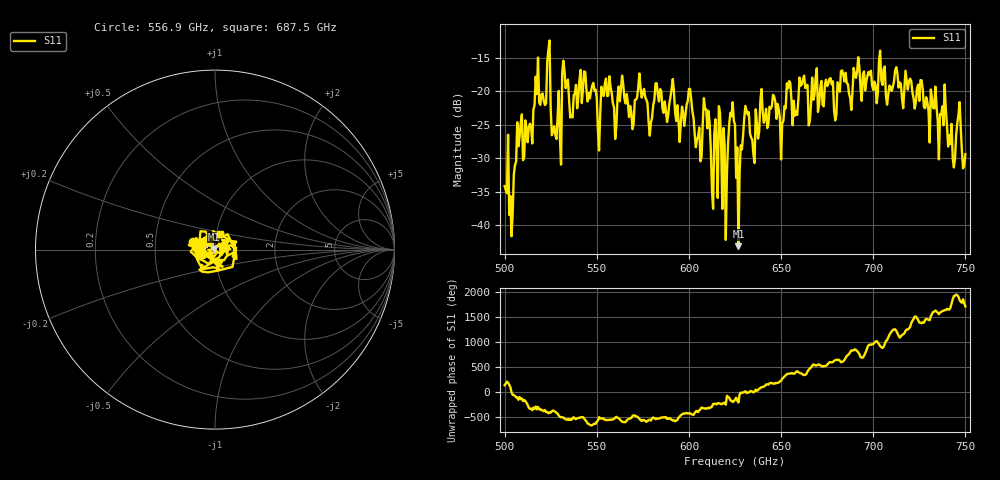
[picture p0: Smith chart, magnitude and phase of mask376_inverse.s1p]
!Created with skrf (http://scikit-rf.org).
# GHz S MA R 50.0
!freq magS11 angS11
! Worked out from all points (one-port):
!   401 points, 500 GHz to 750 GHz, reference 50 ohm
!   lowest |S11| = -43.1 dB at 626.9 GHz (marker M1), VSWR 1.01, Z = 49.4 + j0.364 ohm
!   |S11| at or under -10 dB: start of sweep to end of sweep
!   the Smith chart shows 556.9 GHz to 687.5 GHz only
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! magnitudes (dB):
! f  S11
! 500 GHz  -34.1
! 503.8 GHz  -41.6
! 508.1 GHz  -26.7
! 513.8 GHz  -24.8
! 516.9 GHz  -17.8
! 523.8 GHz  -13.9
! 526.9 GHz  -25.2
! 531.2 GHz  -17.3
! 562.5 GHz  -21.5
! 593.8 GHz  -22.1
! 600 GHz  -19.7
! 605.6 GHz  -25.4
! 609.4 GHz  -22.7
! 612.5 GHz  -34.8
! 617.5 GHz  -28.3
! 619.4 GHz  -28.0
! 622.5 GHz  -23.2
! 625 GHz  -25.0
! 626.9 GHz  -43.1
! 631.2 GHz  -22.9
! 634.4 GHz  -27.2
! 656.2 GHz  -25.1
! 687.5 GHz  -21.1
! 718.8 GHz  -19.8
! 738.1 GHz  -25.1
! 743.1 GHz  -30.0
! 746.2 GHz  -23.5
! 750 GHz  -29.4
